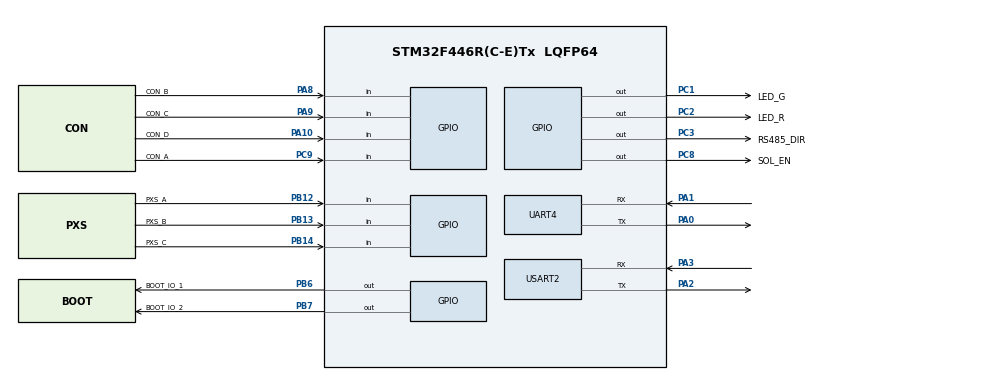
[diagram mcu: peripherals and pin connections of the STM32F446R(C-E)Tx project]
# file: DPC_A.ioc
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Dma.Request0=USART2_RX
Dma.Request1=UART4_RX
Dma.Request2=UART4_TX
Dma.UART4_RX.1.Direction=DMA_PERIPH_TO_MEMORY
Dma.UART4_RX.1.FIFOMode=DMA_FIFOMODE_DISABLE
Dma.UART4_RX.1.Instance=DMA1_Stream2
Dma.UART4_RX.1.MemDataAlignment=DMA_MDATAALIGN_BYTE
Dma.UART4_RX.1.MemInc=DMA_MINC_ENABLE
Dma.UART4_RX.1.Mode=DMA_CIRCULAR
Dma.UART4_RX.1.PeriphDataAlignment=DMA_PDATAALIGN_BYTE
Dma.UART4_RX.1.PeriphInc=DMA_PINC_DISABLE
Dma.UART4_RX.1.Priority=DMA_PRIORITY_LOW
Dma.UART4_TX.2.Direction=DMA_MEMORY_TO_PERIPH
Dma.UART4_TX.2.FIFOMode=DMA_FIFOMODE_DISABLE
Dma.UART4_TX.2.Instance=DMA1_Stream4
Dma.UART4_TX.2.MemDataAlignment=DMA_MDATAALIGN_BYTE
Dma.UART4_TX.2.MemInc=DMA_MINC_ENABLE
Dma.UART4_TX.2.Mode=DMA_NORMAL
Dma.UART4_TX.2.PeriphDataAlignment=DMA_PDATAALIGN_BYTE
Dma.UART4_TX.2.PeriphInc=DMA_PINC_DISABLE
Dma.UART4_TX.2.Priority=DMA_PRIORITY_LOW
Dma.USART2_RX.0.Direction=DMA_PERIPH_TO_MEMORY
Dma.USART2_RX.0.FIFOMode=DMA_FIFOMODE_DISABLE
Dma.USART2_RX.0.Instance=DMA1_Stream5
Dma.USART2_RX.0.MemDataAlignment=DMA_MDATAALIGN_BYTE
Dma.USART2_RX.0.MemInc=DMA_MINC_ENABLE
Dma.USART2_RX.0.Mode=DMA_CIRCULAR
Dma.USART2_RX.0.PeriphDataAlignment=DMA_PDATAALIGN_BYTE
Dma.USART2_RX.0.PeriphInc=DMA_PINC_DISABLE
Dma.USART2_RX.0.Priority=DMA_PRIORITY_LOW
FREERTOS.Tasks01=defaultTask,24,128,StartDefaultTask,Default,NULL,Dynamic,NULL,NULL;RD_TASK_CONTROL,40,512,StartTaskControl,Default,NULL,Dynamic,NULL,NULL;RD_TASK_UART,24,512,StartTaskUart,Default,NULL,Dynamic,NULL,NULL
FREERTOS.configUSE_NEWLIB_REENTRANT=1
Mcu.Family=STM32F4
Mcu.Name=STM32F446R(C-E)Tx
Mcu.Package=LQFP64
NVIC.DMA1_Stream2_IRQn=true\:5\:0\:false\:false\:true\:true\:false\:true\:true
NVIC.DMA1_Stream4_IRQn=true\:5\:0\:false\:false\:true\:true\:false\:true\:true
NVIC.DMA1_Stream5_IRQn=true\:5\:0\:false\:false\:true\:true\:false\:true\:true
NVIC.PriorityGroup=NVIC_PRIORITYGROUP_4
NVIC.TIM1_UP_TIM10_IRQn=true\:15\:0\:false\:false\:true\:false\:false\:true\:true
NVIC.TimeBase=TIM1_UP_TIM10_IRQn
NVIC.TimeBaseIP=TIM1
NVIC.UART4_IRQn=true\:5\:0\:false\:false\:true\:true\:true\:true\:true
NVIC.USART2_IRQn=true\:5\:0\:false\:false\:true\:true\:true\:true\:true
PA0-WKUP.Mode=Asynchronous
PA0-WKUP.Signal=UART4_TX
PA1.Mode=Asynchronous
PA1.Signal=UART4_RX
PA10.GPIO_Label=CON_D
PA10.Signal=GPIO_Input
PA13.Mode=Trace_Asynchronous_SW
PA13.Signal=SYS_JTMS-SWDIO
PA14.Mode=Trace_Asynchronous_SW
PA14.Signal=SYS_JTCK-SWCLK
PA2.Mode=Asynchronous
PA2.Signal=USART2_TX
PA3.Mode=Asynchronous
PA3.Signal=USART2_RX
PA8.GPIO_Label=CON_B
PA8.Signal=GPIO_Input
PA9.GPIO_Label=CON_C
PA9.Signal=GPIO_Input
PB12.GPIO_Label=PXS_A
PB12.GPIO_PuPd=GPIO_NOPULL
PB12.Signal=GPIO_Input
PB13.GPIO_Label=PXS_B
PB13.Signal=GPIO_Input
PB14.GPIO_Label=PXS_C
PB14.Signal=GPIO_Input
PB3.Mode=Trace_Asynchronous_SW
PB3.Signal=SYS_JTDO-SWO
PB6.GPIO_Label=BOOT_IO_1
PB6.GPIO_PuPd=GPIO_PULLUP
PB6.Signal=GPIO_Output
PB7.GPIO_Label=BOOT_IO_2
PB7.GPIO_PuPd=GPIO_PULLUP
PB7.Signal=GPIO_Output
PC1.GPIO_Label=LED_G
PC1.Signal=GPIO_Output
PC2.GPIO_Label=LED_R
PC2.Signal=GPIO_Output
PC3.GPIO_Label=RS485_DIR
PC3.Signal=GPIO_Output
PC8.GPIO_Label=SOL_EN
PC8.Signal=GPIO_Output
PC9.GPIO_Label=CON_A
PC9.Signal=GPIO_Input
ProjectManager.HeapSize=0x200
ProjectManager.StackSize=0x400
ProjectManager.TargetToolchain=STM32CubeIDE
RCC.CortexFreq_Value=16000000
RCC.USBFreq_Value=96000000
RCC.VCOOutputFreq_Value=192000000
UART4.VirtualMode=Asynchronous
USART2.VirtualMode=VM_ASYNC
VP_FREERTOS_VS_CMSIS_V2.Mode=CMSIS_V2
VP_SYS_VS_tim1.Mode=TIM1
board=custom

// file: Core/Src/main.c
/* USER CODE BEGIN Header */
/**
 ******************************************************************************
 * @file           : main.c
 * @brief          : Main program body
 ******************************************************************************
 * @attention
 *
 * Copyright (c) 2025 STMicroelectronics.
 * All rights reserved.
 *
 * This software is licensed under terms that can be found in the LICENSE file
 * in the root directory of this software component.
 * If no LICENSE file comes with this software, it is provided AS-IS.
 *
 ******************************************************************************
 */
/* USER CODE END Header */
#include "main.h"
#include "cmsis_os.h"

/* USER CODE BEGIN Includes */
#include "rd_comm_dpca.h"
#include "rd_common.h"
#include "rd_define.h"
#include "rd_map_dpca.h"
#include "rd_peripheral_dpca.h"
#include "rd_system.h"
#include "rd_uart.h"

/* USER CODE END Includes */

/* USER CODE BEGIN PD */

// PACKET_t uart_4_receive;
// PACKET_t uart_4_send;

/* USER CODE END PD */

UART_HandleTypeDef huart4;
UART_HandleTypeDef huart2;
DMA_HandleTypeDef hdma_uart4_rx;
DMA_HandleTypeDef hdma_uart4_tx;
DMA_HandleTypeDef hdma_usart2_rx;

/* Definitions for defaultTask */
osThreadId_t defaultTaskHandle;
const osThreadAttr_t defaultTask_attributes = {
    .name = "defaultTask",
    .stack_size = 128 * 4,
    .priority = (osPriority_t)osPriorityNormal,
};
/* Definitions for RD_TASK_CONTROL */
osThreadId_t RD_TASK_CONTROLHandle;
const osThreadAttr_t RD_TASK_CONTROL_attributes = {
    .name = "RD_TASK_CONTROL",
    .stack_size = 512 * 4,
    .priority = (osPriority_t)osPriorityHigh,
};
/* Definitions for RD_TASK_UART */
osThreadId_t RD_TASK_UARTHandle;
const osThreadAttr_t RD_TASK_UART_attributes = {
    .name = "RD_TASK_UART",
    .stack_size = 512 * 4,
    .priority = (osPriority_t)osPriorityNormal,
};
/* USER CODE BEGIN PV */
uint8_t temp_prox[3];

/* USER CODE END PV */

void SystemClock_Config(void);
static void MX_GPIO_Init(void);
static void MX_DMA_Init(void);
static void MX_UART4_Init(void);
static void MX_USART2_UART_Init(void);
void StartDefaultTask(void *argument);
void StartTaskControl(void *argument);
void StartTaskUart(void *argument);

int main(void) {

  /* MCU Configuration--------------------------------------------------------*/

  /* Reset of all peripherals, Initializes the Flash interface and the Systick.
   */
  HAL_Init();

  /* Configure the system clock */
  SystemClock_Config();

  /* Initialize all configured peripherals */
  MX_GPIO_Init();
  MX_DMA_Init();
  MX_UART4_Init();
  MX_USART2_UART_Init();
  /* USER CODE BEGIN 2 */
  RD_SYSTEM_INIT();
  /* USER CODE END 2 */

  /* Init scheduler */
  osKernelInitialize();

  /* Create the thread(s) */
  /* creation of defaultTask */
  defaultTaskHandle =
      osThreadNew(StartDefaultTask, NULL, &defaultTask_attributes);

  /* creation of RD_TASK_CONTROL */
  RD_TASK_CONTROLHandle =
      osThreadNew(StartTaskControl, NULL, &RD_TASK_CONTROL_attributes);

  /* creation of RD_TASK_UART */
  RD_TASK_UARTHandle =
      osThreadNew(StartTaskUart, NULL, &RD_TASK_UART_attributes);

  /* Start scheduler */
  osKernelStart();

  /* We should never get here as control is now taken by the scheduler */

  /* Infinite loop */
  while (1) {

  }
}

void SystemClock_Config(void) {
  RCC_OscInitTypeDef RCC_OscInitStruct = {0};
  RCC_ClkInitTypeDef RCC_ClkInitStruct = {0};

  /** Configure the main internal regulator output voltage
   */
  __HAL_RCC_PWR_CLK_ENABLE();
  __HAL_PWR_VOLTAGESCALING_CONFIG(PWR_REGULATOR_VOLTAGE_SCALE3);

  /** Initializes the RCC Oscillators according to the specified parameters
   * in the RCC_OscInitTypeDef structure.
   */
  RCC_OscInitStruct.OscillatorType = RCC_OSCILLATORTYPE_HSI;
  RCC_OscInitStruct.HSIState = RCC_HSI_ON;
  RCC_OscInitStruct.HSICalibrationValue = RCC_HSICALIBRATION_DEFAULT;
  RCC_OscInitStruct.PLL.PLLState = RCC_PLL_NONE;
  if (HAL_RCC_OscConfig(&RCC_OscInitStruct) != HAL_OK) {
    Error_Handler();
  }

  /** Initializes the CPU, AHB and APB buses clocks
   */
  RCC_ClkInitStruct.ClockType = RCC_CLOCKTYPE_HCLK | RCC_CLOCKTYPE_SYSCLK |
                                RCC_CLOCKTYPE_PCLK1 | RCC_CLOCKTYPE_PCLK2;
  RCC_ClkInitStruct.SYSCLKSource = RCC_SYSCLKSOURCE_HSI;
  RCC_ClkInitStruct.AHBCLKDivider = RCC_SYSCLK_DIV1;
  RCC_ClkInitStruct.APB1CLKDivider = RCC_HCLK_DIV1;
  RCC_ClkInitStruct.APB2CLKDivider = RCC_HCLK_DIV1;

  if (HAL_RCC_ClockConfig(&RCC_ClkInitStruct, FLASH_LATENCY_0) != HAL_OK) {
    Error_Handler();
  }
}

static void MX_UART4_Init(void) {

  huart4.Instance = UART4;
  huart4.Init.BaudRate = 115200;
  huart4.Init.WordLength = UART_WORDLENGTH_8B;
  huart4.Init.StopBits = UART_STOPBITS_1;
  huart4.Init.Parity = UART_PARITY_NONE;
  huart4.Init.Mode = UART_MODE_TX_RX;
  huart4.Init.HwFlowCtl = UART_HWCONTROL_NONE;
  huart4.Init.OverSampling = UART_OVERSAMPLING_16;
  if (HAL_UART_Init(&huart4) != HAL_OK) {
    Error_Handler();
  }
}

static void MX_USART2_UART_Init(void) {

  huart2.Instance = USART2;
  huart2.Init.BaudRate = 115200;
  huart2.Init.WordLength = UART_WORDLENGTH_8B;
  huart2.Init.StopBits = UART_STOPBITS_1;
  huart2.Init.Parity = UART_PARITY_NONE;
  huart2.Init.Mode = UART_MODE_TX_RX;
  huart2.Init.HwFlowCtl = UART_HWCONTROL_NONE;
  huart2.Init.OverSampling = UART_OVERSAMPLING_16;
  if (HAL_UART_Init(&huart2) != HAL_OK) {
    Error_Handler();
  }
}

static void MX_DMA_Init(void) {

  /* DMA controller clock enable */
  __HAL_RCC_DMA1_CLK_ENABLE();

  /* DMA interrupt init */
  /* DMA1_Stream2_IRQn interrupt configuration */
  HAL_NVIC_SetPriority(DMA1_Stream2_IRQn, 5, 0);
  HAL_NVIC_EnableIRQ(DMA1_Stream2_IRQn);
  /* DMA1_Stream4_IRQn interrupt configuration */
  HAL_NVIC_SetPriority(DMA1_Stream4_IRQn, 5, 0);
  HAL_NVIC_EnableIRQ(DMA1_Stream4_IRQn);
  /* DMA1_Stream5_IRQn interrupt configuration */
  HAL_NVIC_SetPriority(DMA1_Stream5_IRQn, 5, 0);
  HAL_NVIC_EnableIRQ(DMA1_Stream5_IRQn);
}

static void MX_GPIO_Init(void) {
  GPIO_InitTypeDef GPIO_InitStruct = {0};

  /* GPIO Ports Clock Enable */
  __HAL_RCC_GPIOC_CLK_ENABLE();
  __HAL_RCC_GPIOA_CLK_ENABLE();
  __HAL_RCC_GPIOB_CLK_ENABLE();

  /*Configure GPIO pin Output Level */
  HAL_GPIO_WritePin(GPIOC, LED_G_Pin | LED_R_Pin | RS485_DIR_Pin | SOL_EN_Pin,
                    GPIO_PIN_RESET);

  /*Configure GPIO pin Output Level */
  HAL_GPIO_WritePin(GPIOB, BOOT_IO_1_Pin | BOOT_IO_2_Pin, GPIO_PIN_RESET);

  /*Configure GPIO pins : LED_G_Pin LED_R_Pin RS485_DIR_Pin SOL_EN_Pin */
  GPIO_InitStruct.Pin = LED_G_Pin | LED_R_Pin | RS485_DIR_Pin | SOL_EN_Pin;
  GPIO_InitStruct.Mode = GPIO_MODE_OUTPUT_PP;
  GPIO_InitStruct.Pull = GPIO_NOPULL;
  GPIO_InitStruct.Speed = GPIO_SPEED_FREQ_LOW;
  HAL_GPIO_Init(GPIOC, &GPIO_InitStruct);

  /*Configure GPIO pins : PXS_A_Pin PXS_B_Pin PXS_C_Pin */
  GPIO_InitStruct.Pin = PXS_A_Pin | PXS_B_Pin | PXS_C_Pin;
  GPIO_InitStruct.Mode = GPIO_MODE_INPUT;
  GPIO_InitStruct.Pull = GPIO_NOPULL;
  HAL_GPIO_Init(GPIOB, &GPIO_InitStruct);

  /*Configure GPIO pin : CON_A_Pin */
  GPIO_InitStruct.Pin = CON_A_Pin;
  GPIO_InitStruct.Mode = GPIO_MODE_INPUT;
  GPIO_InitStruct.Pull = GPIO_NOPULL;
  HAL_GPIO_Init(CON_A_GPIO_Port, &GPIO_InitStruct);

  /*Configure GPIO pins : CON_B_Pin CON_C_Pin CON_D_Pin */
  GPIO_InitStruct.Pin = CON_B_Pin | CON_C_Pin | CON_D_Pin;
  GPIO_InitStruct.Mode = GPIO_MODE_INPUT;
  GPIO_InitStruct.Pull = GPIO_NOPULL;
  HAL_GPIO_Init(GPIOA, &GPIO_InitStruct);

  /*Configure GPIO pins : BOOT_IO_1_Pin BOOT_IO_2_Pin */
  GPIO_InitStruct.Pin = BOOT_IO_1_Pin | BOOT_IO_2_Pin;
  GPIO_InitStruct.Mode = GPIO_MODE_OUTPUT_PP;
  GPIO_InitStruct.Pull = GPIO_PULLUP;
  GPIO_InitStruct.Speed = GPIO_SPEED_FREQ_LOW;
  HAL_GPIO_Init(GPIOB, &GPIO_InitStruct);

}

void StartDefaultTask(void *argument) {
  /* USER CODE BEGIN 5 */
  /* Infinite loop */
  for (;;) {
    osDelay(1);
    temp_prox[0] = HAL_GPIO_ReadPin(PXS_A_GPIO_Port, PXS_A_Pin);
    temp_prox[1] = HAL_GPIO_ReadPin(PXS_B_GPIO_Port, PXS_B_Pin);
    temp_prox[2] = HAL_GPIO_ReadPin(PXS_C_GPIO_Port, PXS_C_Pin);
  }
  /* USER CODE END 5 */
}

void StartTaskControl(void *argument) {
  /* USER CODE BEGIN StartTaskControl */
  RD_TASK_CONTROL();
  /* USER CODE END StartTaskControl */
}

void StartTaskUart(void *argument) {
  /* USER CODE BEGIN StartTaskUart */
  RD_TASK_UART();
  /* USER CODE END StartTaskUart */
}

void HAL_TIM_PeriodElapsedCallback(TIM_HandleTypeDef *htim) {
  if (htim->Instance == TIM1) {
    HAL_IncTick();
  }
}

void Error_Handler(void) {
  __disable_irq();
  while (1) {
  }
}
#ifdef USE_FULL_ASSERT
/**
 * @brief  Reports the name of the source file and the source line number
 *         where the assert_param error has occurred.
 * @param  file: pointer to the source file name
 * @param  line: assert_param error line source number
 * @retval None
 */
void assert_failed(uint8_t *file, uint32_t line) {
  /* USER CODE BEGIN 6 */
  /* User can add his own implementation to report the file name and line
     number, ex: printf("Wrong parameters value: file %s on line %d\r\n", file,
     line) */
  /* USER CODE END 6 */
}
#endif /* USE_FULL_ASSERT */
